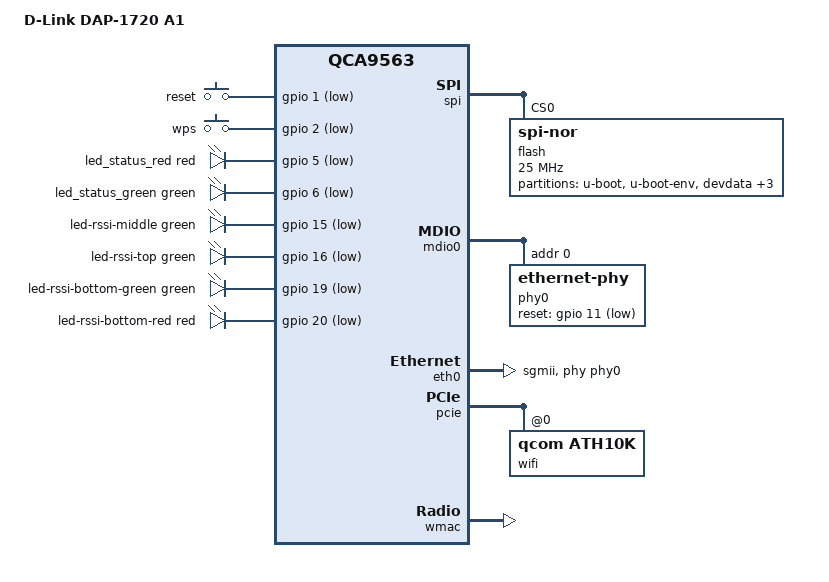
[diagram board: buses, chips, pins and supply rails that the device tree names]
// SPDX-License-Identifier: GPL-2.0-or-later OR MIT

#include "qca956x.dtsi"

#include <dt-bindings/gpio/gpio.h>
#include <dt-bindings/input/input.h>
#include <dt-bindings/leds/common.h>

/ {
	model = "D-Link DAP-1720 A1";
	compatible = "dlink,dap-1720-a1", "qca,qca9563";

	aliases {
		led-boot = &led_status_green;
		led-failsafe = &led_status_red;
		led-running = &led_status_green;
		led-upgrade = &led_status_red;

		label-mac-device = &eth0;
	};

	keys {
		compatible = "gpio-keys";

		button-reset {
			label = "reset";
			gpios = <&gpio 1 GPIO_ACTIVE_LOW>;
			linux,code = <KEY_RESTART>;
			debounce-interval = <60>;
		};

		button-wps {
			label = "wps";
			gpios = <&gpio 2 GPIO_ACTIVE_LOW>;
			linux,code = <KEY_WPS_BUTTON>;
			debounce-interval = <60>;
		};
	};

	leds {
		compatible = "gpio-leds";

		led_status_red: led-status-red {
			color = <LED_COLOR_ID_RED>;
			function = LED_FUNCTION_STATUS;
			gpios = <&gpio 5 GPIO_ACTIVE_LOW>;
			panic-indicator;
		};

		led_status_green: led-status-green {
			color = <LED_COLOR_ID_GREEN>;
			function = LED_FUNCTION_STATUS;
			gpios = <&gpio 6 GPIO_ACTIVE_LOW>;
			default-state = "on";
		};

		led-rssi-middle {
			color = <LED_COLOR_ID_GREEN>;
			function = "signal"; //LED_FUNCTION_SIGNAL;
			function-enumerator = <2>;
			gpios = <&gpio 15 GPIO_ACTIVE_LOW>;
		};

		led-rssi-top {
			color = <LED_COLOR_ID_GREEN>;
			function = "signal"; //LED_FUNCTION_SIGNAL;
			function-enumerator = <3>;
			gpios = <&gpio 16 GPIO_ACTIVE_LOW>;
		};

		led-rssi-bottom-green {
			color = <LED_COLOR_ID_GREEN>;
			function = "signal"; //LED_FUNCTION_SIGNAL;
			function-enumerator = <1>;
			gpios = <&gpio 19 GPIO_ACTIVE_LOW>;
		};

		led-rssi-bottom-red {
			color = <LED_COLOR_ID_RED>;
			function = "signal"; //LED_FUNCTION_SIGNAL;
			function-enumerator = <1>;
			gpios = <&gpio 20 GPIO_ACTIVE_LOW>;
		};
	};
};

&spi {
	status = "okay";

	flash@0 {
		compatible = "jedec,spi-nor";
		reg = <0>;
		spi-max-frequency = <25000000>;

		partitions {
			compatible = "fixed-partitions";
			#address-cells = <1>;
			#size-cells = <1>;

			partition@0 {
				label = "u-boot"; // vendor calls it `bootloader`
				reg = <0x000000 0x40000>;
				read-only;
			};

			partition@40000 {
				label = "u-boot-env"; // vendor calls it `bdcfg`
				reg = <0x040000 0x10000>;
				read-only;

				nvmem-layout {
					compatible = "u-boot,env";
				};
			};

			partition@50000 {
				label = "devdata";
				reg = <0x050000 0x10000>;
				read-only;

				nvmem-layout {
					compatible = "fixed-layout";
					#address-cells = <1>;
					#size-cells = <1>;

					macaddr_ath10k: macaddr@94 {
						compatible = "mac-base";
						reg = <0x94 0x11>;
						#nvmem-cell-cells = <1>;
					};

					macaddr_ath9k: macaddr@b0 {
						compatible = "mac-base";
						reg = <0xb0 0x11>;
						#nvmem-cell-cells = <1>;
					};

					macaddr_lan: macaddr@c9 {
						compatible = "mac-base";
						reg = <0xc9 0x11>;
						#nvmem-cell-cells = <1>;
					};
				};
			};

			partition@60000 {
				label = "devconf";
				reg = <0x060000 0x10000>;
				read-only;
			};

			partition@70000 {
				compatible = "seama";
				label = "firmware";
				reg = <0x070000 0xf80000>;
			};

			partition@ff0000 {
				label = "art"; // vendor calls it `radiocfg`
				reg = <0xff0000 0x010000>;
				read-only;

				nvmem-layout {
					compatible = "fixed-layout";
					#address-cells = <1>;
					#size-cells = <1>;

					cal_ath9k: cal@1000 {
						reg = <0x1000 0x440>;
					};

					cal_ath10k: cal@5000 {
						reg = <0x5000 0x844>;
					};
				};
			};
		};
	};
};

&mdio0 {
	status = "okay";

	phy0: ethernet-phy@0 {
		reg = <0>;
		reset-gpios = <&gpio 11 GPIO_ACTIVE_LOW>;
	};
};

&eth0 {
	status = "okay";

	phy-handle = <&phy0>;
	phy-mode = "sgmii";

	nvmem-cells = <&macaddr_lan 0>;
	nvmem-cell-names = "mac-address";
};

&pcie {
	status = "okay";

	wifi@0,0 {
		compatible = "qcom,ath10k";
		reg = <0x0000 0 0 0 0>;

		nvmem-cells = <&cal_ath10k>, <&macaddr_ath10k 0>;
		nvmem-cell-names = "calibration", "mac-address";
	};
};

&wmac {
	status = "okay";

	nvmem-cells = <&cal_ath9k>, <&macaddr_ath9k 0>;
	nvmem-cell-names = "calibration", "mac-address";
};
